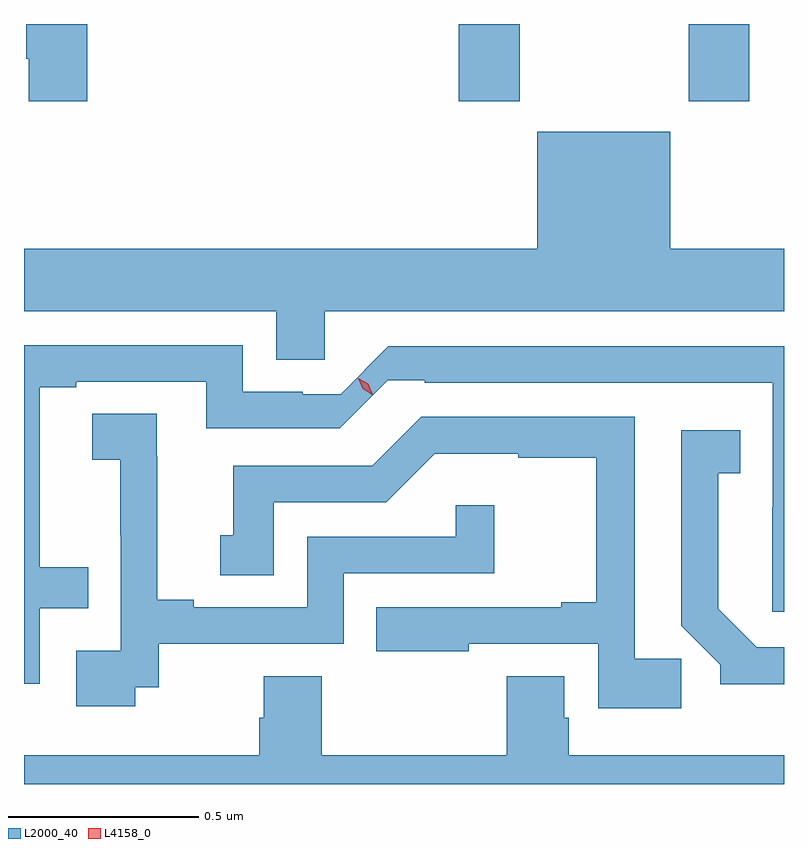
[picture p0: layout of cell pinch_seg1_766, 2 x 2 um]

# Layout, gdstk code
import gdstk
lib = gdstk.Library(unit=1e-6, precision=1e-09)
def R(c, l, rs):  # rectangles x0, y0, x1, y1
    for r in rs: c.add(gdstk.rectangle(r[:2], r[2:], *l))
def P(c, l, *ps):  # polygons
    for p in ps: c.add(gdstk.Polygon(p, *l))
L2000_40 = (2000, 40)
L4158_0 = (4158, 0)

pinch_seg1_766 = lib.new_cell('pinch_seg1_766')
R(pinch_seg1_766, L2000_40, [(870.449,505.665,870.609,505.868), (871.054,505.665,871.214,505.868)])
P(pinch_seg1_766, L2000_40, [(869.471,505.868),(869.311,505.868),(869.311,505.777),(869.317,505.777),(869.317,505.665),(869.471,505.665)],
  [(870.096,505.112),(871.305,505.112),(871.305,505.276),(871.006,505.276),(871.006,505.585),(870.656,505.585),(870.656,505.276),(869.305,505.276),(869.305,505.112),(869.969,505.112),(869.969,504.985),(870.096,504.985)],
  [(869.347,504.33),(869.474,504.33),(869.474,504.439),(869.347,504.439),(869.347,504.912),(869.443,504.912),(869.443,504.927),(869.784,504.927),(869.784,504.804),(870.136,504.804),(870.262,504.93),(870.359,504.93),(870.359,504.924),(871.275,504.924),(871.275,504.596),(871.274,504.596),(871.274,504.321),(871.305,504.321),(871.305,505.02),(870.264,505.02),(870.138,504.894),(870.039,504.894),(870.039,504.9),(869.88,504.9),(869.88,505.023),(869.305,505.023),(869.305,504.132),(869.347,504.132)],
  [(869.598,504.123),(869.66,504.123),(869.66,504.237),(870.147,504.237),(870.147,504.423),(870.542,504.423),(870.542,504.601),(870.441,504.601),(870.441,504.519),(870.051,504.519),(870.051,504.333),(869.752,504.333),(869.752,504.353),(869.656,504.353),(869.656,504.731),(869.654,504.731),(869.654,504.842),(869.484,504.842),(869.484,504.721),(869.558,504.721),(869.558,504.523),(869.559,504.523),(869.559,504.219),(869.442,504.219),(869.442,504.072),(869.598,504.072)],
  [(871.035,504.198),(870.912,504.198),(870.912,504.834),(870.351,504.834),(870.222,504.705),(869.855,504.705),(869.855,504.522),(869.822,504.522),(869.822,504.418),(869.962,504.418),(869.962,504.609),(870.258,504.609),(870.386,504.737),(870.605,504.737),(870.605,504.726),(870.811,504.726),(870.811,504.346),(870.719,504.346),(870.719,504.333),(870.232,504.333),(870.232,504.218),(870.475,504.218),(870.475,504.237),(870.816,504.237),(870.816,504.068),(871.035,504.068)],
  [(871.305,504.228),(871.233,504.228),(871.132,504.329),(871.132,504.686),(871.19,504.686),(871.19,504.799),(871.035,504.799),(871.035,504.284),(871.137,504.182),(871.137,504.131),(871.305,504.131)],
  [(871.305,503.944),(870.739,503.944),(870.739,504.042),(870.727,504.042),(870.727,504.152),(870.575,504.152),(870.575,503.944),(870.089,503.944),(870.089,504.152),(869.936,504.152),(869.936,504.042),(869.924,504.042),(869.924,503.944),(869.305,503.944),(869.305,503.868),(871.305,503.868)])
P(pinch_seg1_766, L4158_0, [(870.222,504.893),(870.196,504.908),(870.185,504.936),(870.185,504.936),(870.185,504.936),(870.211,504.921),(870.223,504.893),(870.223,504.893)])

lib.write_gds('pinch_seg1_766.gds')
